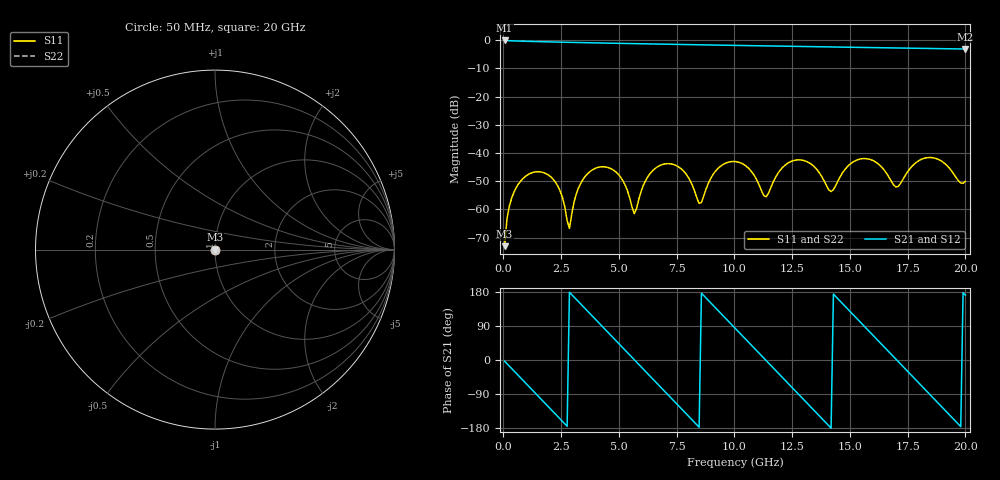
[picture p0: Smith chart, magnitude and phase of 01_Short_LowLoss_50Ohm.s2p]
! Touchstone 1.1 File - Short 30mm Low-Loss 50-Ohm Microstrip (Wide Open Eye)
! Ports: 2 | Reference Impedance: 50 Ohms
# GHz S RI R 50
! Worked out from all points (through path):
!   200 points, 50 MHz to 20 GHz, reference 50 ohm
!   highest |S21| = -0.07 dB at 50 MHz (marker M1); lowest = -3.1 dB at 20 GHz (marker M2)
!   group delay of S21, straight-line fit = 176 ps
!   lowest |S11| = -73.0 dB at 50 MHz (marker M3), VSWR 1.00, Z = 50 + j0.0211 ohm
!   |S11| at or under -10 dB: start of sweep to end of sweep
!   |S22| runs from -73.0 to -41.6 dB; largest |S21 - S12| = 0
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0.05  7.24e-05 0.000211  0.9906 -0.0549  0.9906 -0.0549  7.24e-05 0.000211
0.45101  0.00161 0.0012  0.8546 -0.4661  0.8546 -0.4661  0.00161 0.0012
1.55377  0.00331 -0.00328  -0.1404 -0.9337  -0.1404 -0.9337  0.00331 -0.00328
2.35578  -0.000212 -0.00258  -0.7984 -0.4718  -0.7984 -0.4718  -0.000212 -0.00258
2.85704  0.000389 -0.000248  -0.9176 0.0195  -0.9176 0.0195  0.000389 -0.000248
3.45854  0.00347 -0.000252  -0.7011 0.5753  -0.7011 0.5753  0.00347 -0.000252
4.3608  0.0031 -0.00479  0.1025 0.8857  0.1025 0.8857  0.0031 -0.00479
5.36332  -0.000534 -0.00211  0.8239 0.2968  0.8239 0.2968  -0.000534 -0.00211
5.66407  0.000428 -0.000726  0.871 0.0112  0.871 0.0112  0.000428 -0.000726
6.76683  0.00461 -0.00384  0.3034 -0.7991  0.3034 -0.7991  0.00461 -0.00384
7.76935  -0.000231 -0.00493  -0.5712 -0.6169  -0.5712 -0.6169  -0.000231 -0.00493
8.47111  0.000402 -0.00122  -0.8302 -0.039  -0.8302 -0.039  0.000402 -0.00122
10.07513  0.00249 -0.00657  0.1274 0.8001  0.1274 0.8001  0.00249 -0.00657
11.57889  0.00214 -0.00123  0.7665 -0.1972  0.7665 -0.1972  0.00214 -0.00123
12.48116  0.00454 -0.00555  0.2457 -0.741  0.2457 -0.741  0.00454 -0.00555
13.38342  -0.000266 -0.00609  -0.4835 -0.5994  -0.4835 -0.5994  -0.000266 -0.00609
14.18543  0.000827 -0.00191  -0.7609 -0.0032  -0.7609 -0.0032  0.000827 -0.00191
15.28819  0.00458 -0.00593  -0.2597 0.7021  -0.2597 0.7021  0.00458 -0.00593
16.69171  -0.000556 -0.00368  0.6834 0.2661  0.6834 0.2661  -0.000556 -0.00368
17.49372  0.00373 -0.00274  0.6303 -0.358  0.6303 -0.358  0.00373 -0.00274
18.39598  0.00334 -0.00762  0.0396 -0.7145  0.0396 -0.7145  0.00334 -0.00762
20  0.00185 -0.00255  -0.6916 0.1042  -0.6916 0.1042  0.00185 -0.00255
